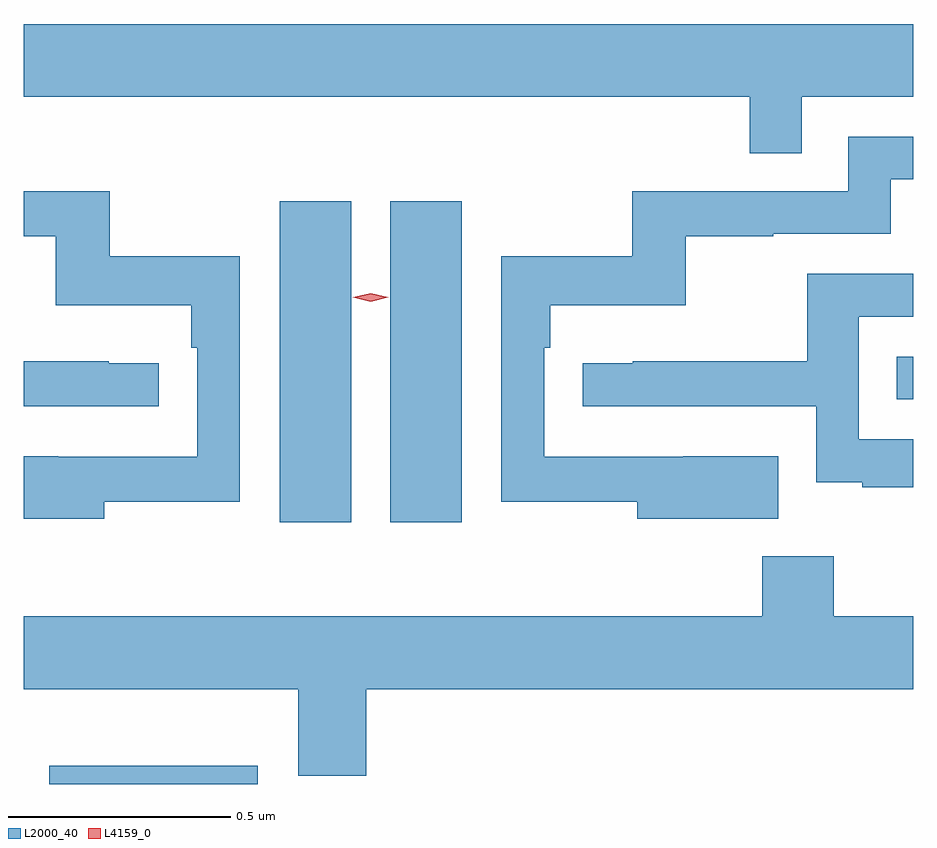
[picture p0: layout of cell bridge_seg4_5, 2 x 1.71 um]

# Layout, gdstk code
import gdstk
lib = gdstk.Library(unit=1e-6, precision=1e-09)
def R(c, l, rs):  # rectangles x0, y0, x1, y1
    for r in rs: c.add(gdstk.rectangle(r[:2], r[2:], *l))
def P(c, l, *ps):  # polygons
    for p in ps: c.add(gdstk.Polygon(p, *l))
L2000_40 = (2000, 40)
L4159_0 = (4159, 0)

bridge_seg4_5 = lib.new_cell('bridge_seg4_5')
R(bridge_seg4_5, L2000_40, [(905.847,824.579,906.316,824.62), (906.365,825.168,906.526,825.889), (906.614,825.168,906.775,825.889), (907.753,825.444,907.79,825.54)])
P(bridge_seg4_5, L2000_40, [(907.539,826.124),(907.79,826.124),(907.79,826.288),(905.79,826.288),(905.79,826.124),(907.423,826.124),(907.423,825.997),(907.539,825.997)],
  [(907.487,825.316),(907.273,825.316),(907.273,825.315),(906.96,825.315),(906.96,825.56),(906.974,825.56),(906.974,825.656),(907.279,825.656),(907.279,825.811),(907.475,825.811),(907.475,825.816),(907.74,825.816),(907.74,825.939),(907.79,825.939),(907.79,826.035),(907.644,826.035),(907.644,825.912),(907.158,825.912),(907.158,825.766),(906.864,825.766),(906.864,825.214),(907.169,825.214),(907.169,825.176),(907.487,825.176)],
  [(905.971,825.214),(906.276,825.214),(906.276,825.766),(905.983,825.766),(905.983,825.912),(905.79,825.912),(905.79,825.811),(905.862,825.811),(905.862,825.656),(906.167,825.656),(906.167,825.56),(906.18,825.56),(906.18,825.315),(905.867,825.315),(905.867,825.316),(905.79,825.316),(905.79,825.176),(905.971,825.176)],
  [(907.79,825.354),(907.668,825.354),(907.668,825.63),(907.79,825.63),(907.79,825.726),(907.552,825.726),(907.552,825.53),(907.159,825.53),(907.159,825.525),(907.047,825.525),(907.047,825.429),(907.572,825.429),(907.572,825.257),(907.675,825.257),(907.675,825.246),(907.79,825.246)],
  [(906.094,825.525),(905.981,825.525),(905.981,825.53),(905.79,825.53),(905.79,825.429),(906.094,825.429)],
  [(906.56,824.792),(907.79,824.792),(907.79,824.956),(907.611,824.956),(907.611,825.091),(907.451,825.091),(907.451,824.956),(905.79,824.956),(905.79,824.792),(906.407,824.792),(906.407,824.598),(906.56,824.598)])
P(bridge_seg4_5, L4159_0, [(906.57,825.663),(906.53,825.673),(906.53,825.673),(906.53,825.673),(906.57,825.683),(906.61,825.673),(906.61,825.673),(906.61,825.673)])

lib.write_gds('bridge_seg4_5.gds')
